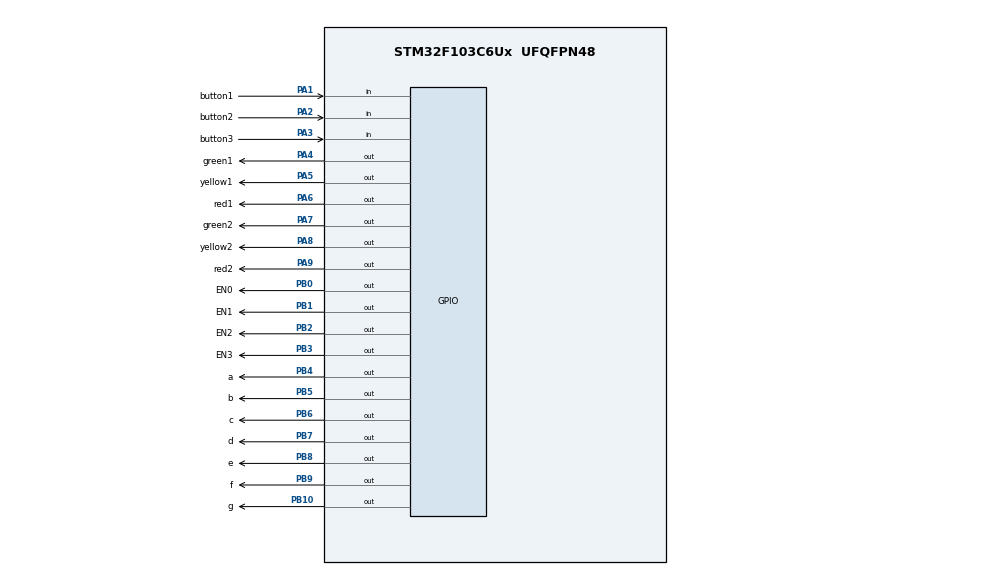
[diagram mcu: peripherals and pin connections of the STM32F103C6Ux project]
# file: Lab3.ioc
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Mcu.Family=STM32F1
Mcu.Name=STM32F103C6Ux
Mcu.Package=UFQFPN48
NVIC.PriorityGroup=NVIC_PRIORITYGROUP_4
NVIC.TIM2_IRQn=true\:0\:0\:false\:false\:true\:true\:true
PA1.GPIO_Label=button1
PA1.GPIO_PuPd=GPIO_PULLUP
PA1.Signal=GPIO_Input
PA2.GPIO_Label=button2
PA2.GPIO_PuPd=GPIO_PULLUP
PA2.Signal=GPIO_Input
PA3.GPIO_Label=button3
PA3.GPIO_PuPd=GPIO_PULLUP
PA3.Signal=GPIO_Input
PA4.GPIO_Label=green1
PA4.Signal=GPIO_Output
PA5.GPIO_Label=yellow1
PA5.Signal=GPIO_Output
PA6.GPIO_Label=red1
PA6.Signal=GPIO_Output
PA7.GPIO_Label=green2
PA7.Signal=GPIO_Output
PA8.GPIO_Label=yellow2
PA8.Signal=GPIO_Output
PA9.GPIO_Label=red2
PA9.Signal=GPIO_Output
PB0.GPIO_Label=EN0
PB0.Signal=GPIO_Output
PB1.GPIO_Label=EN1
PB1.Signal=GPIO_Output
PB10.GPIO_Label=g
PB10.Signal=GPIO_Output
PB2.GPIO_Label=EN2
PB2.Signal=GPIO_Output
PB3.GPIO_Label=EN3
PB3.Signal=GPIO_Output
PB4.GPIO_Label=a
PB4.Signal=GPIO_Output
PB5.GPIO_Label=b
PB5.Signal=GPIO_Output
PB6.GPIO_Label=c
PB6.Signal=GPIO_Output
PB7.GPIO_Label=d
PB7.Signal=GPIO_Output
PB8.GPIO_Label=e
PB8.Signal=GPIO_Output
PB9.GPIO_Label=f
PB9.Signal=GPIO_Output
ProjectManager.HeapSize=0x200
ProjectManager.StackSize=0x400
ProjectManager.TargetToolchain=STM32CubeIDE
RCC.APB1Freq_Value=8000000
RCC.APB2Freq_Value=8000000
TIM2.Period=9
TIM2.Prescaler=7999
VP_SYS_VS_ND.Mode=No_Debug
VP_TIM2_VS_ClockSourceINT.Mode=Internal
board=custom

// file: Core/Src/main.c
/* USER CODE BEGIN Header */
/**
  ******************************************************************************
  * @file           : main.c
  * @brief          : Main program body
  ******************************************************************************
  * @attention
  *
  * <h2><center>&copy; Copyright (c) 2023 STMicroelectronics.
  * All rights reserved.</center></h2>
  *
  * This software component is licensed by ST under BSD 3-Clause license,
  * the "License"; You may not use this file except in compliance with the
  * License. You may obtain a copy of the License at:
  *                        opensource.org/licenses/BSD-3-Clause
  *
  ******************************************************************************
  */
/* USER CODE END Header */
#include "main.h"

/* USER CODE BEGIN Includes */
#include "global.h"
#include "System_FSM.h"
#include "input_reading.h"
/* USER CODE END Includes */

TIM_HandleTypeDef htim2;

void SystemClock_Config(void);
static void MX_GPIO_Init(void);
static void MX_TIM2_Init(void);

int main(void)
{

  /* MCU Configuration--------------------------------------------------------*/

  /* Reset of all peripherals, Initializes the Flash interface and the Systick. */
  HAL_Init();

  /* Configure the system clock */
  SystemClock_Config();

  /* Initialize all configured peripherals */
  MX_GPIO_Init();
  MX_TIM2_Init();
  /* USER CODE BEGIN 2 */
  HAL_TIM_Base_Start_IT(&htim2);

  InitButton();
  setTimer(25, 2);
  /* USER CODE END 2 */

  /* Infinite loop */
  while (1)
  {
    /* USER CODE BEGIN 3 */
	  SystemFSM();
	  if(flag[2] == 1){
		  setTimer(25, 2);
		  Update7SEG(id++);
		  if(id >= 4) id = 0;
	  }
  }
  /* USER CODE END 3 */
}

void SystemClock_Config(void)
{
  RCC_OscInitTypeDef RCC_OscInitStruct = {0};
  RCC_ClkInitTypeDef RCC_ClkInitStruct = {0};

  /** Initializes the RCC Oscillators according to the specified parameters
  * in the RCC_OscInitTypeDef structure.
  */
  RCC_OscInitStruct.OscillatorType = RCC_OSCILLATORTYPE_HSI;
  RCC_OscInitStruct.HSIState = RCC_HSI_ON;
  RCC_OscInitStruct.HSICalibrationValue = RCC_HSICALIBRATION_DEFAULT;
  RCC_OscInitStruct.PLL.PLLState = RCC_PLL_NONE;
  if (HAL_RCC_OscConfig(&RCC_OscInitStruct) != HAL_OK)
  {
    Error_Handler();
  }
  /** Initializes the CPU, AHB and APB buses clocks
  */
  RCC_ClkInitStruct.ClockType = RCC_CLOCKTYPE_HCLK|RCC_CLOCKTYPE_SYSCLK
                              |RCC_CLOCKTYPE_PCLK1|RCC_CLOCKTYPE_PCLK2;
  RCC_ClkInitStruct.SYSCLKSource = RCC_SYSCLKSOURCE_HSI;
  RCC_ClkInitStruct.AHBCLKDivider = RCC_SYSCLK_DIV1;
  RCC_ClkInitStruct.APB1CLKDivider = RCC_HCLK_DIV1;
  RCC_ClkInitStruct.APB2CLKDivider = RCC_HCLK_DIV1;

  if (HAL_RCC_ClockConfig(&RCC_ClkInitStruct, FLASH_LATENCY_0) != HAL_OK)
  {
    Error_Handler();
  }
}

static void MX_TIM2_Init(void)
{

  TIM_ClockConfigTypeDef sClockSourceConfig = {0};
  TIM_MasterConfigTypeDef sMasterConfig = {0};

  htim2.Instance = TIM2;
  htim2.Init.Prescaler = 7999;
  htim2.Init.CounterMode = TIM_COUNTERMODE_UP;
  htim2.Init.Period = 9;
  htim2.Init.ClockDivision = TIM_CLOCKDIVISION_DIV1;
  htim2.Init.AutoReloadPreload = TIM_AUTORELOAD_PRELOAD_DISABLE;
  if (HAL_TIM_Base_Init(&htim2) != HAL_OK)
  {
    Error_Handler();
  }
  sClockSourceConfig.ClockSource = TIM_CLOCKSOURCE_INTERNAL;
  if (HAL_TIM_ConfigClockSource(&htim2, &sClockSourceConfig) != HAL_OK)
  {
    Error_Handler();
  }
  sMasterConfig.MasterOutputTrigger = TIM_TRGO_RESET;
  sMasterConfig.MasterSlaveMode = TIM_MASTERSLAVEMODE_DISABLE;
  if (HAL_TIMEx_MasterConfigSynchronization(&htim2, &sMasterConfig) != HAL_OK)
  {
    Error_Handler();
  }
  /* USER CODE BEGIN TIM2_Init 2 */
  prescaler = htim2.Init.Prescaler;
  period = htim2.Init.Period;
  int frequency = Internalclock / ((1+prescaler)*(1+period));
  time_cycle = Onesecond / frequency;
  /* USER CODE END TIM2_Init 2 */

}

static void MX_GPIO_Init(void)
{
  GPIO_InitTypeDef GPIO_InitStruct = {0};

  /* GPIO Ports Clock Enable */
  __HAL_RCC_GPIOA_CLK_ENABLE();
  __HAL_RCC_GPIOB_CLK_ENABLE();

  /*Configure GPIO pin Output Level */
  HAL_GPIO_WritePin(GPIOA, green1_Pin|yellow1_Pin|red1_Pin|green2_Pin
                          |yellow2_Pin|red2_Pin, GPIO_PIN_RESET);

  /*Configure GPIO pin Output Level */
  HAL_GPIO_WritePin(GPIOB, EN0_Pin|EN1_Pin|EN2_Pin|g_Pin
                          |EN3_Pin|a_Pin|b_Pin|c_Pin
                          |d_Pin|e_Pin|f_Pin, GPIO_PIN_RESET);

  /*Configure GPIO pins : button1_Pin button2_Pin button3_Pin */
  GPIO_InitStruct.Pin = button1_Pin|button2_Pin|button3_Pin;
  GPIO_InitStruct.Mode = GPIO_MODE_INPUT;
  GPIO_InitStruct.Pull = GPIO_PULLUP;
  HAL_GPIO_Init(GPIOA, &GPIO_InitStruct);

  /*Configure GPIO pins : green1_Pin yellow1_Pin red1_Pin green2_Pin
                           yellow2_Pin red2_Pin */
  GPIO_InitStruct.Pin = green1_Pin|yellow1_Pin|red1_Pin|green2_Pin
                          |yellow2_Pin|red2_Pin;
  GPIO_InitStruct.Mode = GPIO_MODE_OUTPUT_PP;
  GPIO_InitStruct.Pull = GPIO_NOPULL;
  GPIO_InitStruct.Speed = GPIO_SPEED_FREQ_LOW;
  HAL_GPIO_Init(GPIOA, &GPIO_InitStruct);

  /*Configure GPIO pins : EN0_Pin EN1_Pin EN2_Pin g_Pin
                           EN3_Pin a_Pin b_Pin c_Pin
                           d_Pin e_Pin f_Pin */
  GPIO_InitStruct.Pin = EN0_Pin|EN1_Pin|EN2_Pin|g_Pin
                          |EN3_Pin|a_Pin|b_Pin|c_Pin
                          |d_Pin|e_Pin|f_Pin;
  GPIO_InitStruct.Mode = GPIO_MODE_OUTPUT_PP;
  GPIO_InitStruct.Pull = GPIO_NOPULL;
  GPIO_InitStruct.Speed = GPIO_SPEED_FREQ_LOW;
  HAL_GPIO_Init(GPIOB, &GPIO_InitStruct);

}

/* USER CODE BEGIN 4 */
void HAL_TIM_PeriodElapsedCallback(TIM_HandleTypeDef * htim){
	// timer run for traffic light 1
	timer_run(0);
	// timer run for traffic light 2
	timer_run(1);
	// timer run for quet led
	timer_run(2);
	// timer for blinking led 2HZ
	timer_run(3);
	// timer for long press 1s button2
	timer_run(4);
	// read button 1
	button_reading(0);
	// read button 2
	button_reading(1);
	// read button 3
	button_reading(2);
	// quet led
}
/* USER CODE END 4 */

void Error_Handler(void)
{
  __disable_irq();
  while (1)
  {
  }
}

/************************ (C) COPYRIGHT STMicroelectronics *****END OF FILE****/
